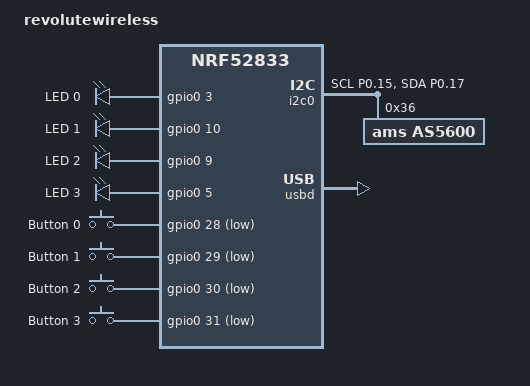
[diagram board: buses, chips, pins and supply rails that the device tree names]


/dts-v1/;
#include <nordic/nrf52833_qiaa.dtsi>


/ {
	model = "revolutewireless";
	compatible = "revolutewireless";

	chosen {

		zephyr,console = &uart0;
		zephyr,shell-uart = &uart0;
		zephyr,uart-mcumgr = &uart0;
		zephyr,sram = &sram0;
		zephyr,flash = &flash0;
		zephyr,code-partition = &slot0_partition;

	};


	
	leds {
			compatible = "gpio-leds";
			led_0 {
					/* LED 0 on P0.13, LED on when pin is high */
					gpios = < &gpio0 3 GPIO_ACTIVE_HIGH >;
					label = "LED 0";
			};
			led_1 {
					/* LED 1 on P0.14, LED on when pin is low */
					gpios = < &gpio0 10 GPIO_ACTIVE_HIGH >;
					label = "LED 1";
			};
			led_2 {
					/* LED 2 on P1.0, on when low */
					gpios = < &gpio0 9 GPIO_ACTIVE_HIGH >;
					label = "LED 2";
			};
			led_3 {
					/* LED 3 on P1.1, on when high */
					gpios = < &gpio0 5 GPIO_ACTIVE_HIGH >;
					label = "LED 3";
			};
	};




 


	buttons {
			compatible = "gpio-keys";
			/*
				* Add up to 4 total buttons in child nodes as shown here.
				*/
			button0: button_0 {
					/* Button 0 on P0.11. Enable internal SoC pull-up
						* resistor and treat low level as pressed button. */
					gpios = <&gpio0 28 (GPIO_PULL_UP | GPIO_ACTIVE_LOW)>;
					label = "Button 0";
			};
			button1: button_1 {
					/* Button 1 on P0.12. Enable internal pull-down resistor.
						* Treat high level as pressed button. */
					gpios = <&gpio0 29 (GPIO_PULL_UP | GPIO_ACTIVE_LOW)>;
					label = "Button 1";
			};
			button2: button_2 {
					/* Button 2 on P1.12, enable internal pull-up,
						* low level is pressed. */
					gpios = <&gpio0 30 (GPIO_PULL_UP | GPIO_ACTIVE_LOW)>;
					label = "Button 2";
			};
			button3: button_3 {
					/* Button 3 on P1.15, no internal pull resistor,
						* low is pressed. */
					gpios = <&gpio0 31 (GPIO_PULL_UP | GPIO_ACTIVE_LOW)>;
					label = "Button 3";
			};
	};


	

	/* These aliases are provided for compatibility with samples */
	aliases {
		// led0 = &led0_red;
		// led0-red   = &led0_red;	
		// sw0 =  &button1;


	};
};

&gpiote {
	status = "okay";
};

&gpio0 {
	status = "okay";
};

&gpio1 {
	status = "okay";
};



&flash0 {
	partitions {
		compatible = "fixed-partitions";
		#address-cells = <1>;
		#size-cells = <1>;

		boot_partition: partition@0 {
			label = "mcuboot";
			reg = <0x0 0xc000>;
		};
		slot0_partition: partition@c000 {
			label = "image-0";
			reg = <0xc000 0x37000>;
		};
		slot1_partition: partition@43000 {
			label = "image-1";
			reg = <0x43000 0x37000>;
		};
		storage_partition: partition@7a000 {
			label = "storage";
			reg = <0x7a000 0x6000>;
		};
	};
};


&i2c0 {

	status = "okay";
	pinctrl-0 = <&i2c0_default>;
	pinctrl-names = "default";
	//clock-frequency = <200000>;
	// pinctrl-0 = <&i2c0_default>;
	// pinctrl-1 = <&i2c0_sleep>;
	// pinctrl-names = "default", "sleep";
	//reg = <0x40003000 0x1000>;
	as5600: as5600@36 {
		compatible = "ams,as5600";
		
		reg = <0x36>;
		status = "okay";
	};
};


&pinctrl {
	i2c0_default: i2c0_default {
		group1 {
			psels = <NRF_PSEL(TWIM_SCL, 0,15)>, <NRF_PSEL(TWIM_SDA, 0, 17)>;
		};
	};
};


// #include "fstab-stock.dts"

zephyr_udc0: &usbd {
	compatible = "nordic,nrf-usbd";
	status = "okay";
};
